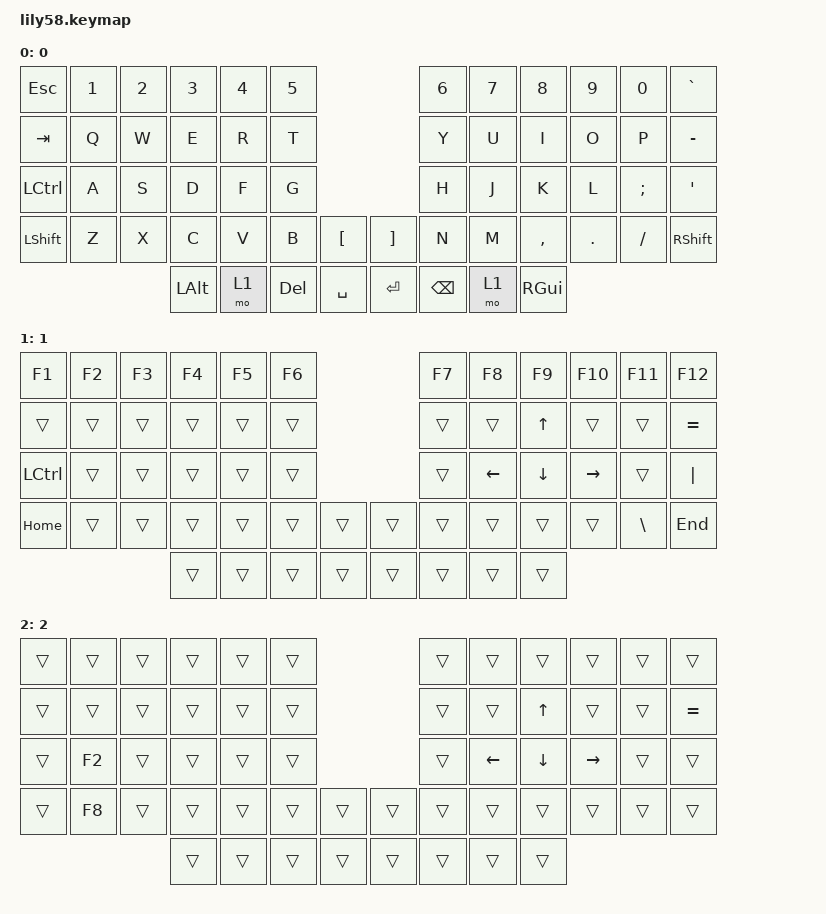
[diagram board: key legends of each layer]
/*
 * Copyright (c) 2020 The ZMK Contributors
 *
 * SPDX-License-Identifier: MIT
 */

#include <behaviors.dtsi>
#include <dt-bindings/zmk/keys.h>
#include <dt-bindings/zmk/bt.h>
#include <dt-bindings/zmk/ext_power.h>

/ {
    keymap {
        compatible = "zmk,keymap";

        default_layer {
// ------------------------------------------------------------------------------------------------------------
// |  ESC  |  1  |  2  |  3   |  4   |  5   |                   |  6   |  7    |  8    |  9   |   0   |   `   |
// |  TAB  |  Q  |  W  |  E   |  R   |  T   |                   |  Y   |  U    |  I    |  O   |   P   |   -   |
// |  CTRL |  A  |  S  |  D   |  F   |  G   |                   |  H   |  J    |  K    |  L   |   ;   |   '   |
// | SHIFT |  Z  |  X  |  C   |  V   |  B   |   "["  |  |  "]"  |  N   |  M    |  ,    |  .   |   /   | SHIFT |
//                     | ALT  | LOWER|  DEL |  SPACE |  | ENTER | BSPC | RAISE |  GUI  |
            bindings = <
&kp ESC   &kp N1 &kp N2 &kp N3   &kp N4   &kp N5                      &kp N6   &kp N7   &kp N8    &kp N9  &kp N0   &kp GRAVE
&kp TAB   &kp Q  &kp W  &kp E    &kp R    &kp T                       &kp Y    &kp U    &kp I     &kp O   &kp P    &kp MINUS
&kp LCTRL &kp A  &kp S  &kp D    &kp F    &kp G                       &kp H    &kp J    &kp K     &kp L   &kp SEMI &kp SQT
&kp LSHFT &kp Z  &kp X  &kp C    &kp V    &kp B   &kp LBKT   &kp RBKT &kp N    &kp M    &kp COMMA &kp DOT &kp FSLH &kp RSHFT
                        &kp LALT &mo 1    &kp DEL &kp SPACE  &kp RET  &kp BSPC &mo 1    &kp RGUI
            >;
            display-name = "0";
        };


        // &mo 1
        lower_layer {
// ------------------------------------------------------------------------------------------------------------
// |  F1   |  F2 |  F3 |  F4  |  F5  |  F6  |                   |  F7  |  F8   |  F9   |  F10 |  F11  |  F12  |
// |       |     |     |      |      |      |                   |      |       |   ^   |      |       |   =   |
// | CTRL  |     |     |      |      |      |                   |      |  <-   |   v   |  ->  |       |   |   |
// | HOME  |     |     |      |      |      |        |  |       |      |       |       |      |   \   |  END  |
//                     |      |      |      |        |  |       |      |       |       |
            bindings = <
&kp F1     &kp F2           &kp F3            &kp F4            &kp F5       &kp F6                       &kp F7    &kp F8    &kp F9    &kp F10   &kp F11   &kp F12
&trans     &trans           &trans            &trans            &trans       &trans                       &trans    &trans    &kp UP    &trans    &trans    &kp EQUAL
&kp LCTRL  &trans           &trans            &trans            &trans       &trans                       &trans    &kp LEFT  &kp DOWN  &kp RIGHT &trans    &kp PIPE
&kp HOME   &trans           &trans            &trans            &trans       &trans    &trans   &trans    &trans    &trans    &trans    &trans    &kp BSLH  &kp END
                                              &trans            &trans       &trans    &trans   &trans    &trans    &trans    &trans
            >;
            display-name = "1";
        };


        // &mo 2
        raise_layer {
// ------------------------------------------------------------------------------------------------------------
// |       |     |     |      |      |      |                   |      |       |       |      |       |       |
// |       |     |     |      |      |      |                   |      |       |   ^   |      |       |   =   |
// |       |     |     |      |      |      |                   |      |   <-  |   v   |  ->  |       |       |
// |       |     |     |      |      |      |        |  |       |      |       |       |      |       |       |
//                     |      |      |      |        |  |       |      |       |       |
            bindings = <
&trans    &trans &trans &trans  &trans  &trans                       &trans      &trans    &trans    &trans    &trans    &trans
&trans    &trans &trans &trans  &trans  &trans                       &trans      &trans    &kp UP    &trans    &trans    &kp EQUAL
&trans    &kp F2 &trans &trans  &trans  &trans                       &trans      &kp LEFT  &kp DOWN  &kp RIGHT &trans    &trans
&trans    &kp F8 &trans &trans  &trans  &trans    &trans   &trans    &trans      &trans    &trans    &trans    &trans    &trans
                        &trans  &trans  &trans    &trans   &trans    &trans      &trans    &trans
            >;
            display-name = "2";
        };
    };
};
